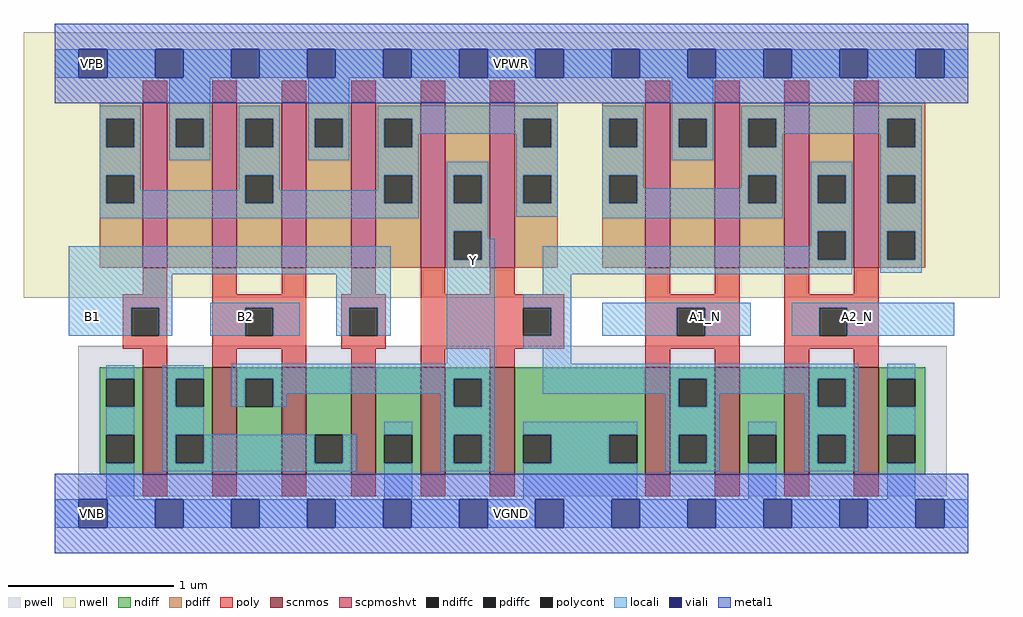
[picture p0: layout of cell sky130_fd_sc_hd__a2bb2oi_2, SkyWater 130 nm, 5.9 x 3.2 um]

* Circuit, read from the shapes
.subckt sky130_fd_sc_hd__a2bb2oi_2 A1_N A2_N B1 B2 VGND VNB VPB VPWR Y
XM1 n1 B1 VGND VNB sky130_fd_pr__nfet_01v8 w=0.65 l=0.15 m=2
XM2 Y B2 n1 VNB sky130_fd_pr__nfet_01v8 w=0.65 l=0.15 m=2
XM3 Y n2 VGND VNB sky130_fd_pr__nfet_01v8 w=0.65 l=0.15 m=2
XM4 n2 A1_N VGND VNB sky130_fd_pr__nfet_01v8 w=0.65 l=0.15 m=2
XM5 n2 A2_N VGND VNB sky130_fd_pr__nfet_01v8 w=0.65 l=0.15 m=2
XM6 VPWR B1 n3 VPB sky130_fd_pr__pfet_01v8_hvt w=1 l=0.15 m=2
XM7 n3 B2 VPWR VPB sky130_fd_pr__pfet_01v8_hvt w=1 l=0.15 m=2
XM8 Y n2 n3 VPB sky130_fd_pr__pfet_01v8_hvt w=1 l=0.15 m=2
XM9 VPWR A1_N n4 VPB sky130_fd_pr__pfet_01v8_hvt w=1 l=0.15 m=2
XM10 n2 A2_N n4 VPB sky130_fd_pr__pfet_01v8_hvt w=1 l=0.15 m=2
.ends

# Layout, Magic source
magic
tech sky130A
magscale 1 2
<< nwell >>
rect -38 261 1142 582
<< pwell >>
rect 28 21 1078 203
rect 29 -17 63 21
<< scnmos >>
rect 106 47 136 177
rect 190 47 220 177
rect 274 47 304 177
rect 358 47 388 177
rect 442 47 472 177
rect 526 47 556 177
rect 714 47 744 177
rect 798 47 828 177
rect 882 47 912 177
rect 966 47 996 177
<< scpmoshvt >>
rect 106 297 136 497
rect 190 297 220 497
rect 274 297 304 497
rect 358 297 388 497
rect 442 297 472 497
rect 526 297 556 497
rect 714 297 744 497
rect 798 297 828 497
rect 882 297 912 497
rect 966 297 996 497
<< ndiff >>
rect 54 163 106 177
rect 54 129 62 163
rect 96 129 106 163
rect 54 95 106 129
rect 54 61 62 95
rect 96 61 106 95
rect 54 47 106 61
rect 136 163 190 177
rect 136 129 146 163
rect 180 129 190 163
rect 136 95 190 129
rect 136 61 146 95
rect 180 61 190 95
rect 136 47 190 61
rect 220 163 274 177
rect 220 129 230 163
rect 264 129 274 163
rect 220 47 274 129
rect 304 95 358 177
rect 304 61 314 95
rect 348 61 358 95
rect 304 47 358 61
rect 388 95 442 177
rect 388 61 398 95
rect 432 61 442 95
rect 388 47 442 61
rect 472 163 526 177
rect 472 129 482 163
rect 516 129 526 163
rect 472 95 526 129
rect 472 61 482 95
rect 516 61 526 95
rect 472 47 526 61
rect 556 95 714 177
rect 556 61 566 95
rect 600 61 670 95
rect 704 61 714 95
rect 556 47 714 61
rect 744 163 798 177
rect 744 129 754 163
rect 788 129 798 163
rect 744 95 798 129
rect 744 61 754 95
rect 788 61 798 95
rect 744 47 798 61
rect 828 95 882 177
rect 828 61 838 95
rect 872 61 882 95
rect 828 47 882 61
rect 912 163 966 177
rect 912 129 922 163
rect 956 129 966 163
rect 912 95 966 129
rect 912 61 922 95
rect 956 61 966 95
rect 912 47 966 61
rect 996 163 1052 177
rect 996 129 1006 163
rect 1040 129 1052 163
rect 996 95 1052 129
rect 996 61 1006 95
rect 1040 61 1052 95
rect 996 47 1052 61
<< pdiff >>
rect 54 477 106 497
rect 54 443 62 477
rect 96 443 106 477
rect 54 409 106 443
rect 54 375 62 409
rect 96 375 106 409
rect 54 297 106 375
rect 136 477 190 497
rect 136 443 146 477
rect 180 443 190 477
rect 136 297 190 443
rect 220 477 274 497
rect 220 443 230 477
rect 264 443 274 477
rect 220 409 274 443
rect 220 375 230 409
rect 264 375 274 409
rect 220 297 274 375
rect 304 477 358 497
rect 304 443 314 477
rect 348 443 358 477
rect 304 297 358 443
rect 388 477 442 497
rect 388 443 398 477
rect 432 443 442 477
rect 388 409 442 443
rect 388 375 398 409
rect 432 375 442 409
rect 388 297 442 375
rect 472 409 526 497
rect 472 375 482 409
rect 516 375 526 409
rect 472 341 526 375
rect 472 307 482 341
rect 516 307 526 341
rect 472 297 526 307
rect 556 477 608 497
rect 556 443 566 477
rect 600 443 608 477
rect 556 409 608 443
rect 556 375 566 409
rect 600 375 608 409
rect 556 297 608 375
rect 662 477 714 497
rect 662 443 670 477
rect 704 443 714 477
rect 662 409 714 443
rect 662 375 670 409
rect 704 375 714 409
rect 662 297 714 375
rect 744 477 798 497
rect 744 443 754 477
rect 788 443 798 477
rect 744 297 798 443
rect 828 477 882 497
rect 828 443 838 477
rect 872 443 882 477
rect 828 409 882 443
rect 828 375 838 409
rect 872 375 882 409
rect 828 297 882 375
rect 912 409 966 497
rect 912 375 922 409
rect 956 375 966 409
rect 912 341 966 375
rect 912 307 922 341
rect 956 307 966 341
rect 912 297 966 307
rect 996 477 1052 497
rect 996 443 1006 477
rect 1040 443 1052 477
rect 996 409 1052 443
rect 996 375 1006 409
rect 1040 375 1052 409
rect 996 341 1052 375
rect 996 307 1006 341
rect 1040 307 1052 341
rect 996 297 1052 307
<< ndiffc >>
rect 62 129 96 163
rect 62 61 96 95
rect 146 129 180 163
rect 146 61 180 95
rect 230 129 264 163
rect 314 61 348 95
rect 398 61 432 95
rect 482 129 516 163
rect 482 61 516 95
rect 566 61 600 95
rect 670 61 704 95
rect 754 129 788 163
rect 754 61 788 95
rect 838 61 872 95
rect 922 129 956 163
rect 922 61 956 95
rect 1006 129 1040 163
rect 1006 61 1040 95
<< pdiffc >>
rect 62 443 96 477
rect 62 375 96 409
rect 146 443 180 477
rect 230 443 264 477
rect 230 375 264 409
rect 314 443 348 477
rect 398 443 432 477
rect 398 375 432 409
rect 482 375 516 409
rect 482 307 516 341
rect 566 443 600 477
rect 566 375 600 409
rect 670 443 704 477
rect 670 375 704 409
rect 754 443 788 477
rect 838 443 872 477
rect 838 375 872 409
rect 922 375 956 409
rect 922 307 956 341
rect 1006 443 1040 477
rect 1006 375 1040 409
rect 1006 307 1040 341
<< poly >>
rect 106 497 136 523
rect 190 497 220 523
rect 274 497 304 523
rect 358 497 388 523
rect 442 497 472 523
rect 526 497 556 523
rect 714 497 744 523
rect 798 497 828 523
rect 882 497 912 523
rect 966 497 996 523
rect 106 265 136 297
rect 82 249 136 265
rect 82 215 92 249
rect 126 215 136 249
rect 82 199 136 215
rect 106 177 136 199
rect 190 265 220 297
rect 274 265 304 297
rect 358 265 388 297
rect 442 265 472 297
rect 526 265 556 297
rect 714 265 744 297
rect 798 265 828 297
rect 190 249 304 265
rect 190 215 230 249
rect 264 215 304 249
rect 190 199 304 215
rect 346 249 400 265
rect 346 215 356 249
rect 390 215 400 249
rect 346 199 400 215
rect 442 249 616 265
rect 442 215 566 249
rect 600 215 616 249
rect 442 199 616 215
rect 714 249 828 265
rect 714 215 752 249
rect 786 215 828 249
rect 714 199 828 215
rect 190 177 220 199
rect 274 177 304 199
rect 358 177 388 199
rect 442 177 472 199
rect 526 177 556 199
rect 714 177 744 199
rect 798 177 828 199
rect 882 265 912 297
rect 966 265 996 297
rect 882 249 996 265
rect 882 215 924 249
rect 958 215 996 249
rect 882 199 996 215
rect 882 177 912 199
rect 966 177 996 199
rect 106 21 136 47
rect 190 21 220 47
rect 274 21 304 47
rect 358 21 388 47
rect 442 21 472 47
rect 526 21 556 47
rect 714 21 744 47
rect 798 21 828 47
rect 882 21 912 47
rect 966 21 996 47
<< polycont >>
rect 92 215 126 249
rect 230 215 264 249
rect 356 215 390 249
rect 566 215 600 249
rect 752 215 786 249
rect 924 215 958 249
<< locali >>
rect 0 527 29 561
rect 63 527 121 561
rect 155 527 213 561
rect 247 527 305 561
rect 339 527 397 561
rect 431 527 489 561
rect 523 527 581 561
rect 615 527 673 561
rect 707 527 765 561
rect 799 527 857 561
rect 891 527 949 561
rect 983 527 1041 561
rect 1075 527 1104 561
rect 54 477 104 493
rect 54 443 62 477
rect 96 443 104 477
rect 54 409 104 443
rect 138 477 188 527
rect 138 443 146 477
rect 180 443 188 477
rect 138 427 188 443
rect 222 477 272 493
rect 222 443 230 477
rect 264 443 272 477
rect 54 375 62 409
rect 96 391 104 409
rect 222 409 272 443
rect 306 477 356 527
rect 306 443 314 477
rect 348 443 356 477
rect 306 427 356 443
rect 390 477 608 493
rect 390 443 398 477
rect 432 459 566 477
rect 432 443 440 459
rect 222 391 230 409
rect 96 375 230 391
rect 264 391 272 409
rect 390 409 440 443
rect 558 443 566 459
rect 600 443 608 477
rect 390 391 398 409
rect 264 375 398 391
rect 432 375 440 409
rect 54 357 440 375
rect 474 409 524 425
rect 474 375 482 409
rect 516 375 524 409
rect 474 341 524 375
rect 558 409 608 443
rect 558 375 566 409
rect 600 375 608 409
rect 558 359 608 375
rect 662 477 712 493
rect 662 443 670 477
rect 704 443 712 477
rect 662 409 712 443
rect 746 477 796 527
rect 746 443 754 477
rect 788 443 796 477
rect 746 427 796 443
rect 830 477 1048 493
rect 830 443 838 477
rect 872 459 1006 477
rect 872 443 880 459
rect 662 375 670 409
rect 704 393 712 409
rect 830 409 880 443
rect 998 443 1006 459
rect 1040 443 1048 477
rect 830 393 838 409
rect 704 375 838 393
rect 872 375 880 409
rect 662 357 880 375
rect 914 409 964 425
rect 914 375 922 409
rect 956 375 964 409
rect 17 289 406 323
rect 17 249 142 289
rect 17 215 92 249
rect 126 215 142 249
rect 188 249 296 255
rect 188 215 230 249
rect 264 215 296 249
rect 340 249 406 289
rect 340 215 356 249
rect 390 215 406 249
rect 474 307 482 341
rect 516 332 524 341
rect 914 341 964 375
rect 516 307 532 332
rect 914 323 922 341
rect 474 181 532 307
rect 590 307 922 323
rect 956 307 964 341
rect 590 289 964 307
rect 998 409 1048 443
rect 998 375 1006 409
rect 1040 375 1048 409
rect 998 341 1048 375
rect 998 307 1006 341
rect 1040 307 1048 341
rect 998 291 1048 307
rect 590 265 624 289
rect 566 249 624 265
rect 600 215 624 249
rect 662 249 841 255
rect 662 215 752 249
rect 786 215 841 249
rect 891 249 1087 255
rect 891 215 924 249
rect 958 215 1087 249
rect 566 199 624 215
rect 62 163 96 179
rect 62 95 96 129
rect 62 17 96 61
rect 130 163 180 179
rect 130 129 146 163
rect 214 163 532 181
rect 214 129 230 163
rect 264 145 482 163
rect 264 129 280 145
rect 466 129 482 145
rect 516 129 532 163
rect 590 181 624 199
rect 590 163 972 181
rect 590 145 754 163
rect 130 95 180 129
rect 398 95 432 111
rect 130 61 146 95
rect 180 61 314 95
rect 348 61 364 95
rect 130 51 364 61
rect 398 17 432 61
rect 466 95 532 129
rect 738 129 754 145
rect 788 145 922 163
rect 788 129 804 145
rect 466 61 482 95
rect 516 61 532 95
rect 466 51 532 61
rect 566 95 704 111
rect 600 61 670 95
rect 566 17 704 61
rect 738 95 804 129
rect 906 129 922 145
rect 956 129 972 163
rect 738 61 754 95
rect 788 61 804 95
rect 738 51 804 61
rect 838 95 872 111
rect 838 17 872 61
rect 906 95 972 129
rect 906 61 922 95
rect 956 61 972 95
rect 906 51 972 61
rect 1006 163 1040 181
rect 1006 95 1040 129
rect 1006 17 1040 61
rect 0 -17 29 17
rect 63 -17 121 17
rect 155 -17 213 17
rect 247 -17 305 17
rect 339 -17 397 17
rect 431 -17 489 17
rect 523 -17 581 17
rect 615 -17 673 17
rect 707 -17 765 17
rect 799 -17 857 17
rect 891 -17 949 17
rect 983 -17 1041 17
rect 1075 -17 1104 17
<< viali >>
rect 29 527 63 561
rect 121 527 155 561
rect 213 527 247 561
rect 305 527 339 561
rect 397 527 431 561
rect 489 527 523 561
rect 581 527 615 561
rect 673 527 707 561
rect 765 527 799 561
rect 857 527 891 561
rect 949 527 983 561
rect 1041 527 1075 561
rect 29 -17 63 17
rect 121 -17 155 17
rect 213 -17 247 17
rect 305 -17 339 17
rect 397 -17 431 17
rect 489 -17 523 17
rect 581 -17 615 17
rect 673 -17 707 17
rect 765 -17 799 17
rect 857 -17 891 17
rect 949 -17 983 17
rect 1041 -17 1075 17
<< metal1 >>
rect 0 561 1104 592
rect 0 527 29 561
rect 63 527 121 561
rect 155 527 213 561
rect 247 527 305 561
rect 339 527 397 561
rect 431 527 489 561
rect 523 527 581 561
rect 615 527 673 561
rect 707 527 765 561
rect 799 527 857 561
rect 891 527 949 561
rect 983 527 1041 561
rect 1075 527 1104 561
rect 0 496 1104 527
rect 0 17 1104 48
rect 0 -17 29 17
rect 63 -17 121 17
rect 155 -17 213 17
rect 247 -17 305 17
rect 339 -17 397 17
rect 431 -17 489 17
rect 523 -17 581 17
rect 615 -17 673 17
rect 707 -17 765 17
rect 799 -17 857 17
rect 891 -17 949 17
rect 983 -17 1041 17
rect 1075 -17 1104 17
rect 0 -48 1104 -17
<< labels >>
flabel locali s 953 221 987 255 0 FreeSans 400 180 0 0 A2_N
port 2 nsew signal input
flabel locali s 769 221 803 255 0 FreeSans 400 180 0 0 A1_N
port 1 nsew signal input
flabel locali s 489 289 523 323 0 FreeSans 400 180 0 0 Y
port 9 nsew signal output
flabel locali s 213 221 247 255 0 FreeSans 400 0 0 0 B2
port 4 nsew signal input
flabel locali s 29 221 63 255 0 FreeSans 400 0 0 0 B1
port 3 nsew signal input
flabel pwell s 29 -17 63 17 0 FreeSans 200 0 0 0 VNB
port 6 nsew ground bidirectional
flabel nwell s 29 527 63 561 0 FreeSans 200 0 0 0 VPB
port 7 nsew power bidirectional
flabel metal1 s 29 -17 63 17 0 FreeSans 200 0 0 0 VGND
port 5 nsew ground bidirectional abutment
flabel metal1 s 29 527 63 561 0 FreeSans 200 0 0 0 VPWR
port 8 nsew power bidirectional abutment
rlabel comment s 0 0 0 0 4 a2bb2oi_2
rlabel metal1 s 0 -48 1104 48 1 VGND
port 5 nsew ground bidirectional abutment
rlabel metal1 s 0 496 1104 592 1 VPWR
port 8 nsew power bidirectional abutment
<< properties >>
string FIXED_BBOX 0 0 1104 544
string GDS_END 3946244
string GDS_FILE $PDKPATH/libs.ref/sky130_fd_sc_hd/gds/sky130_fd_sc_hd.gds
string GDS_START 3937446
string LEFclass CORE
string LEFsite unithd
string LEFsymmetry X Y R90
string path 0.000 0.000 27.600 0.000 
<< end >>
